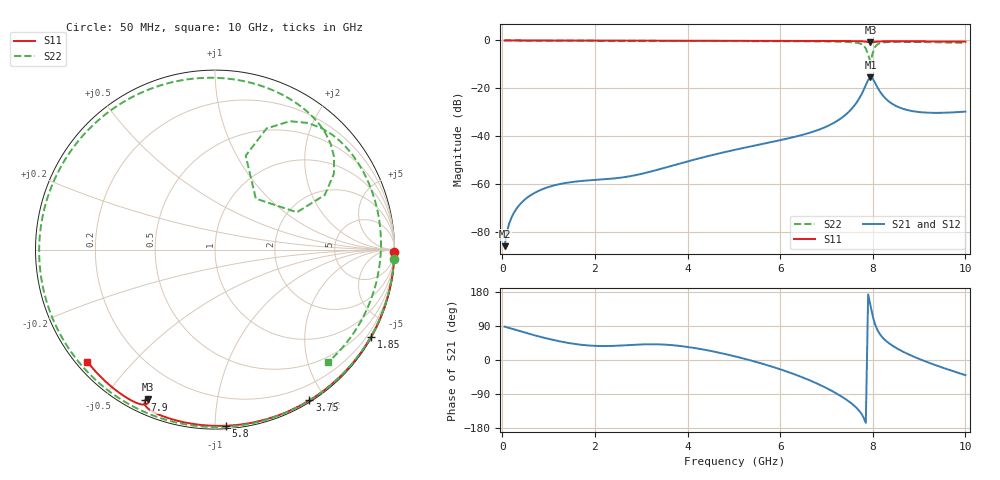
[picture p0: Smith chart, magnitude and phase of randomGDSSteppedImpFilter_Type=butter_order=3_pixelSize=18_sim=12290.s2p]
! freq	dB(S11)	phase(S11)	dB(S12)	phase(S12)
!  dB(S21)	phase(S21)	dB(S22)	phase(S22)
!S-par simulation data
#  GHz  S  DB  R 50
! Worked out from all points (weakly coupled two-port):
!   200 points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, 50 MHz to 10 GHz, reference 50 ohm
!   highest |S21| = -15.31 dB at 7.95 GHz (marker M1); lowest = -85.8 dB at 50 MHz (marker M2)
!   lowest |S11| = -0.8 dB at 7.95 GHz (marker M3), VSWR 21.86, Z = 3.24 - j32.2 ohm
!   |S11| at or under -10 dB: nowhere
!   |S22| runs from -8.8 to 0.0 dB; largest |S21 - S12| = 0
!   S11 on the Smith chart (normalised r, x): 50 MHz: open; 1.85 GHz: 0.03, -3.82; 3.75 GHz: 0.02, -1.81; 5.8 GHz: 0.02, -1.06; 7.9 GHz: 0.05, -0.64; 10 GHz: 0.03, -0.38
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0.05  -0.00 -0.8  -85.81 88.0  -85.81 88.0  -0.00 -2.9
0.1  -0.00 -1.6  -79.80 86.3  -79.80 86.3  -0.01 -5.8
0.3  -0.01 -4.8  -70.37 79.0  -70.37 79.0  -0.03 -17.4
0.6  -0.01 -9.6  -64.72 68.4  -64.72 68.4  -0.05 -34.3
1.15  -0.02 -18.3  -60.31 51.6  -60.31 51.6  -0.08 -63.8
1.75  -0.04 -27.8  -58.55 39.6  -58.55 39.6  -0.10 -92.7
1.85  -0.04 -29.3  -58.39 38.5  -58.39 38.5  -0.11 -97.2
2.65  -0.05 -41.6  -56.97 38.8  -56.97 38.8  -0.13 -130.0
3.4  -0.07 -52.8  -53.69 41.2  -53.69 41.2  -0.15 -156.9
3.75  -0.08 -57.9  -51.80 38.2  -51.80 38.2  -0.16 -168.7
5.05  -0.12 -76.3  -45.50 8.8  -45.50 8.8  -0.23 149.1
5.8  -0.15 -86.5  -42.43 -16.6  -42.43 -16.6  -0.28 124.2
6.7  -0.19 -98.4  -38.14 -56.9  -38.14 -56.9  -0.37 91.6
7.5  -0.26 -109.1  -29.43 -110.8  -29.43 -110.8  -0.68 56.1
7.8  -0.40 -113.8  -20.76 -151.4  -20.76 -151.4  -2.09 32.5
7.9  -0.66 -115.0  -16.45 173.1  -16.45 173.1  -6.00 24.5
7.95  -0.80 -114.3  -15.31 144.5  -15.31 144.5  -8.78 51.3
8  -0.72 -113.5  -15.97 115.5  -15.97 115.5  -5.19 71.9
8.1  -0.47 -114.3  -19.53 79.2  -19.53 79.2  -1.64 59.7
8.35  -0.35 -118.1  -25.47 44.2  -25.47 44.2  -0.66 37.5
9.1  -0.38 -127.7  -30.04 -2.0  -30.04 -2.0  -0.69 -1.8
10  -0.48 -138.8  -29.69 -39.9  -29.69 -39.9  -1.03 -45.0
